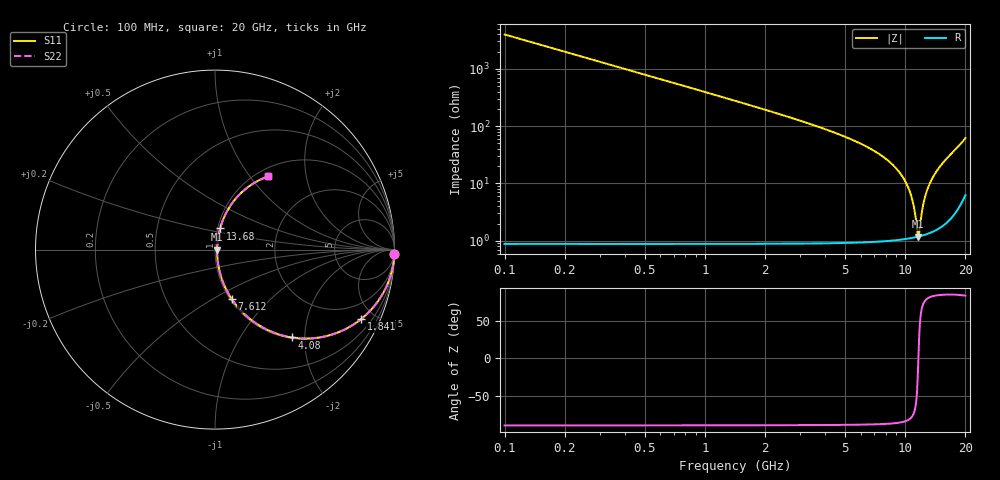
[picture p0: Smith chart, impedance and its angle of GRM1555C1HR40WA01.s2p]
!Murata Part Number: GRM1555C1HR40WA01
!These Parameters are Measured in Series Mode Connection
!Data Generated on Mar 30, 2021
!  o--ll--o
!Port1  Port2
!  o------o
!Operation Temp=25[degC], DC Bias Voltage=0[V]
!Freq. Start=100[MHz] Stop=20[GHz] 401[Steps]
# Hz S RI R 50
!Freq.(Hz) S11(Real) S11(Imag) S21(Real) S21(Imag) S12(Real) S12(Imag) S22(Real) S22(Imag)
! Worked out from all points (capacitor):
!   401 points, 100 MHz to 20 GHz, reference 50 ohm
!   read as one part in series: C = 400 fF near 199.5 MHz
!   lowest |Z| = 1.18 ohm at 11.64 GHz (marker M1)
!   series resonance near 11.65 GHz, so ESL is about 470 pH
!   S11 on the Smith chart (normalised r, x): 100 MHz: 1, -80; 1.841 GHz: 1.02, -4.22; 4.08 GHz: 1.02, -1.72; 7.612 GHz: 1.02, -0.61; 13.68 GHz: 1.03, +0.25; 20 GHz: 1.12, +1.23
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1e8  0.9994 -0.0251  0.000637 0.0251  0.000637 0.0251  0.9994 -0.0251
3.4875e8  0.9923 -0.087  0.0077 0.087  0.0077 0.087  0.9923 -0.087
6.4725e8  0.9739 -0.1588  0.0261 0.1588  0.0261 0.1588  0.9739 -0.1588
1.14475e9  0.9217 -0.2674  0.0783 0.2674  0.0783 0.2674  0.9217 -0.2674
1.84125e9  0.8155 -0.3858  0.1845 0.3858  0.1845 0.3858  0.8155 -0.3858
3.43325e9  0.5305 -0.4949  0.4695 0.4949  0.4695 0.4949  0.5305 -0.4949
4.08e9  0.4268 -0.4894  0.5732 0.4894  0.5732 0.4894  0.4268 -0.4894
6.7665e9  0.1424 -0.3377  0.8576 0.3377  0.8576 0.3377  0.1424 -0.3377
7.61225e9  0.0936 -0.2759  0.9064 0.2759  0.9064 0.2759  0.0936 -0.2759
9.00525e9  0.0421 -0.1751  0.9579 0.1751  0.9579 0.1751  0.0421 -0.1751
1.005e10  0.0214 -0.1029  0.9786 0.1029  0.9786 0.1029  0.0214 -0.1029
1.09455e10  0.0131 -0.0442  0.9869 0.0442  0.9869 0.0442  0.0131 -0.0442
1.15425e10  0.0117 -0.0066  0.9883 0.0066  0.9883 0.0066  0.0117 -0.0066
1.1642e10  0.0117 -0.000463  0.9883 0.000463  0.9883 0.000463  0.0117 -0.000463
1.17415e10  0.0118 0.00563  0.9882 -0.00563  0.9882 -0.00563  0.0118 0.00563
1.208975e10  0.0128 0.0267  0.9872 -0.0267  0.9872 -0.0267  0.0128 0.0267
1.238825e10  0.0144 0.0444  0.9856 -0.0444  0.9856 -0.0444  0.0144 0.0444
1.338325e10  0.0242 0.1013  0.9758 -0.1013  0.9758 -0.1013  0.0242 0.1013
1.368175e10  0.0284 0.1178  0.9716 -0.1178  0.9716 -0.1178  0.0284 0.1178
1.497525e10  0.0532 0.1862  0.9468 -0.1862  0.9468 -0.1862  0.0532 0.1862
1.67165e10  0.105 0.2713  0.895 -0.2713  0.895 -0.2713  0.105 0.2713
2e10  0.2962 0.4088  0.7038 -0.4088  0.7038 -0.4088  0.2962 0.4088
